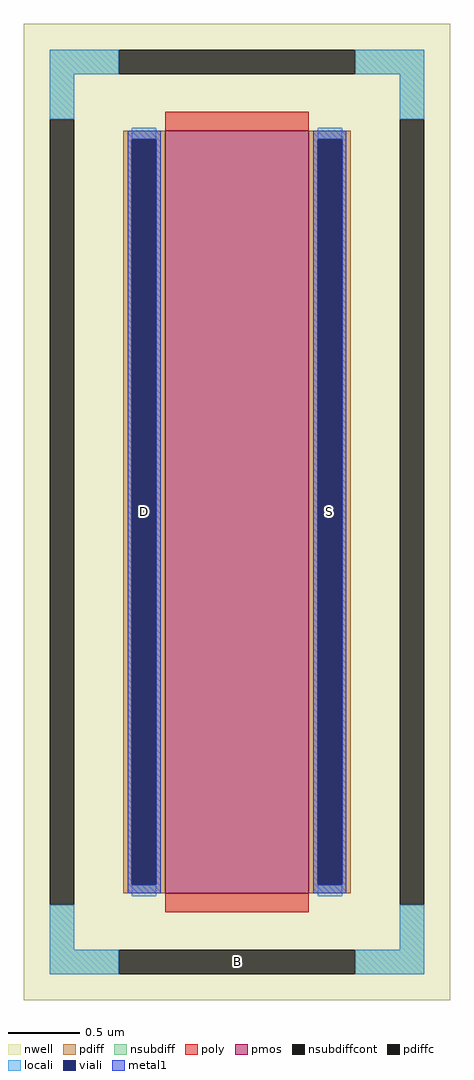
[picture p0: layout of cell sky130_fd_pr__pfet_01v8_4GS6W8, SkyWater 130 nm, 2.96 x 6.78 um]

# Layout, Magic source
magic
tech sky130A
magscale 1 2
<< nwell >>
rect -296 -678 296 678
<< pmos >>
rect -100 -530 100 530
<< pdiff >>
rect -158 518 -100 530
rect -158 -518 -146 518
rect -112 -518 -100 518
rect -158 -530 -100 -518
rect 100 518 158 530
rect 100 -518 112 518
rect 146 -518 158 518
rect 100 -530 158 -518
<< pdiffc >>
rect -146 -518 -112 518
rect 112 -518 146 518
<< nsubdiff >>
rect -260 608 -164 642
rect 164 608 260 642
rect -260 546 -226 608
rect 226 546 260 608
rect -260 -608 -226 -546
rect 226 -608 260 -546
rect -260 -642 -164 -608
rect 164 -642 260 -608
<< nsubdiffcont >>
rect -164 608 164 642
rect -260 -546 -226 546
rect 226 -546 260 546
rect -164 -642 164 -608
<< poly >>
rect -100 530 100 556
rect -100 -556 100 -530
<< locali >>
rect -260 608 -164 642
rect 164 608 260 642
rect -260 546 -226 608
rect 226 546 260 608
rect -146 518 -112 534
rect -146 -534 -112 -518
rect 112 518 146 534
rect 112 -534 146 -518
rect -260 -608 -226 -546
rect 226 -608 260 -546
rect -260 -642 -164 -608
rect 164 -642 260 -608
<< viali >>
rect -146 -518 -112 518
rect 112 -518 146 518
<< metal1 >>
rect -152 518 -106 530
rect -152 -518 -146 518
rect -112 -518 -106 518
rect -152 -530 -106 -518
rect 106 518 152 530
rect 106 -518 112 518
rect 146 -518 152 518
rect 106 -530 152 -518
<< labels >>
rlabel nsubdiffcont 0 -625 0 -625 0 B
port 1 nsew
rlabel pdiffc -129 0 -129 0 0 D
port 2 nsew
rlabel pdiffc 129 0 129 0 0 S
port 3 nsew
<< properties >>
string FIXED_BBOX -243 -625 243 625
string gencell sky130_fd_pr__pfet_01v8
string library sky130
string parameters w 5.3 l 1 m 1 nf 1 diffcov 100 polycov 100 guard 1 glc 1 grc 1 gtc 1 gbc 1 tbcov 100 rlcov 100 topc 0 botc 0 poverlap 0 doverlap 1 lmin 0.15 wmin 0.42 class mosfet compatible {sky130_fd_pr__pfet_01v8  sky130_fd_pr__pfet_01v8_lvt sky130_fd_pr__pfet_01v8_hvt  sky130_fd_pr__pfet_g5v0d10v5} full_metal 1 conn_gates 0 viasrc 100 viadrn 100 viagate 100 viagb 0 viagr 0 viagl 0 viagt 0 doports 1
<< end >>
